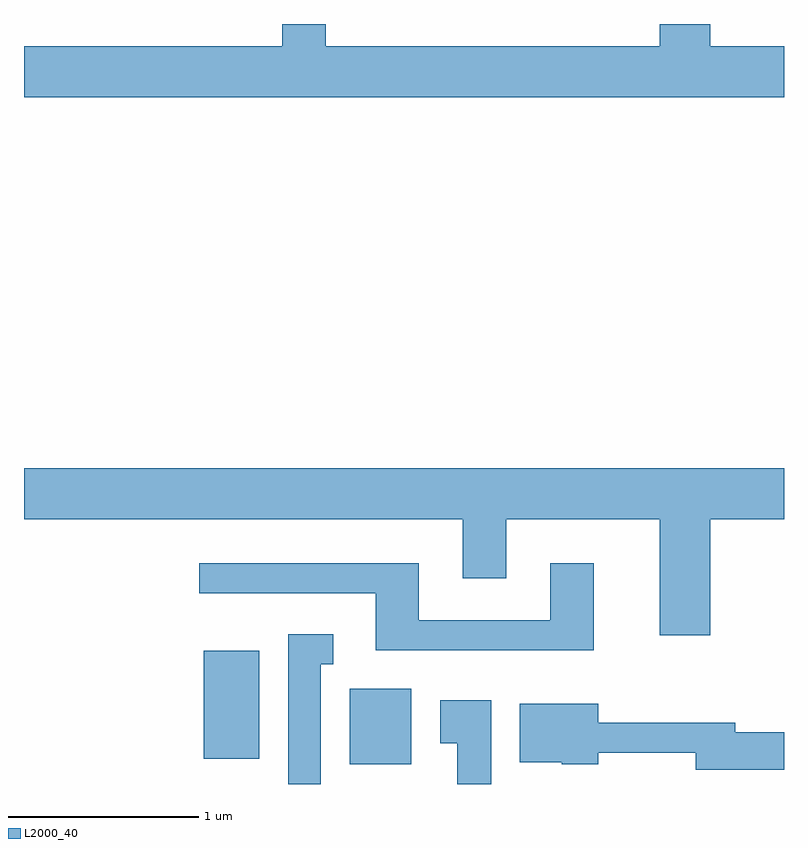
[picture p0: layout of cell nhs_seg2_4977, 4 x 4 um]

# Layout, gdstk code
import gdstk
lib = gdstk.Library(unit=1e-6, precision=1e-09)
def R(c, l, rs):  # rectangles x0, y0, x1, y1
    for r in rs: c.add(gdstk.rectangle(r[:2], r[2:], *l))
def P(c, l, *ps):  # polygons
    for p in ps: c.add(gdstk.Polygon(p, *l))
L2000_40 = (2000, 40)

nhs_seg2_4977 = lib.new_cell('nhs_seg2_4977')
R(nhs_seg2_4977, L2000_40, [(333.326,1055.906,333.649,1056.304), (332.556,1055.936,332.849,1056.504)])
P(nhs_seg2_4977, L2000_40, [(335.611,1059.684),(335.224,1059.684),(335.224,1059.802),(334.956,1059.802),(334.956,1059.684),(333.199,1059.684),(333.199,1059.802),(332.971,1059.802),(332.971,1059.684),(331.611,1059.684),(331.611,1059.416),(335.611,1059.416)],
  [(335.224,1057.196),(335.611,1057.196),(335.611,1057.464),(331.611,1057.464),(331.611,1057.196),(333.921,1057.196),(333.921,1056.886),(334.149,1056.886),(334.149,1057.196),(334.956,1057.196),(334.956,1056.586),(335.224,1056.586)],
  [(334.609,1056.964),(334.381,1056.964),(334.381,1056.664),(333.689,1056.664),(333.689,1056.964),(332.533,1056.964),(332.533,1056.806),(333.461,1056.806),(333.461,1056.506),(334.609,1056.506)],
  [(333.174,1056.431),(333.238,1056.431),(333.238,1056.589),(333.001,1056.589),(333.001,1055.802),(333.174,1055.802)],
  [(334.069,1056.244),(333.801,1056.244),(333.801,1056.016),(333.891,1056.016),(333.891,1055.802),(334.069,1055.802)],
  [(335.611,1056.074),(335.354,1056.074),(335.354,1056.124),(334.634,1056.124),(334.634,1056.224),(334.221,1056.224),(334.221,1055.916),(334.44,1055.916),(334.44,1055.906),(334.634,1055.906),(334.634,1055.966),(335.146,1055.966),(335.146,1055.876),(335.611,1055.876)])

lib.write_gds('nhs_seg2_4977.gds')
